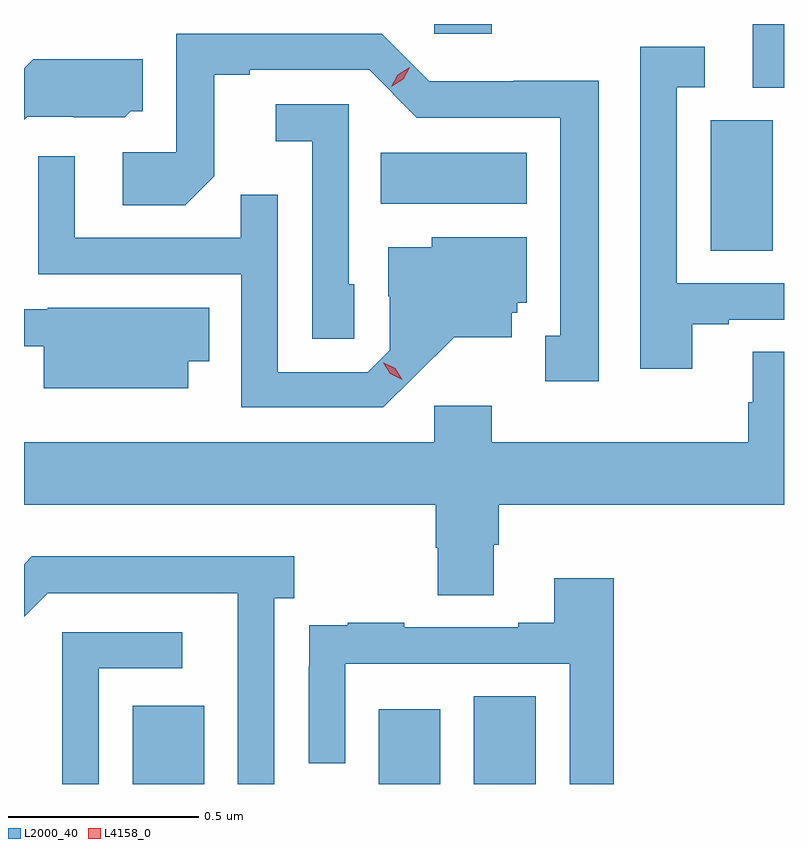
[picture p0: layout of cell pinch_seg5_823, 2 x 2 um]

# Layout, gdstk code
import gdstk
lib = gdstk.Library(unit=1e-6, precision=1e-09)
def R(c, l, rs):  # rectangles x0, y0, x1, y1
    for r in rs: c.add(gdstk.rectangle(r[:2], r[2:], *l))
def P(c, l, *ps):  # polygons
    for p in ps: c.add(gdstk.Polygon(p, *l))
L2000_40 = (2000, 40)
L4158_0 = (4158, 0)

pinch_seg5_823 = lib.new_cell('pinch_seg5_823')
R(pinch_seg5_823, L2000_40, [(804.491,897.317,804.679,897.523), (805.139,897.317,805.3,897.514), (805.388,897.317,805.552,897.548), (806.012,898.72,806.176,899.064), (805.144,898.844,805.528,898.978), (806.123,899.149,806.205,899.317), (805.284,899.291,805.436,899.317)])
P(pinch_seg5_823, L2000_40, [(805.717,899.168),(805.494,899.168),(805.494,899.166),(805.272,899.166),(805.146,899.292),(804.606,899.292),(804.606,898.98),(804.465,898.98),(804.465,898.84),(804.629,898.84),(804.705,898.916),(804.705,899.184),(804.799,899.184),(804.799,899.196),(805.113,899.196),(805.239,899.07),(805.616,899.07),(805.616,898.497),(805.577,898.497),(805.577,898.377),(805.717,898.377)],
  [(805.963,898.527),(806.059,898.527),(806.059,898.539),(806.205,898.539),(806.205,898.635),(805.923,898.635),(805.923,899.151),(805.996,899.151),(805.996,899.257),(805.827,899.257),(805.827,898.41),(805.963,898.41)],
  [(804.213,899.073),(804.336,899.073),(804.336,899.072),(804.47,899.072),(804.486,899.088),(804.517,899.088),(804.517,899.224),(804.229,899.224),(804.205,899.2),(804.205,899.065)],
  [(805.074,898.632),(805.059,898.632),(805.059,899.106),(804.867,899.106),(804.867,899.009),(804.963,899.009),(804.963,898.489),(805.074,898.489)],
  [(805.234,898.391),(805.337,898.493),(805.489,898.493),(805.489,898.557),(805.503,898.557),(805.503,898.584),(805.528,898.584),(805.528,898.756),(805.278,898.756),(805.278,898.729),(805.163,898.729),(805.163,898.6),(805.167,898.6),(805.167,898.458),(805.11,898.401),(804.873,898.401),(804.873,898.868),(804.775,898.868),(804.775,898.755),(804.339,898.755),(804.339,898.969),(804.243,898.969),(804.243,898.659),(804.777,898.659),(804.777,898.308),(805.15,898.308)],
  [(804.637,898.43),(804.692,898.43),(804.692,898.57),(804.268,898.57),(804.268,898.566),(804.205,898.566),(804.205,898.469),(804.257,898.469),(804.257,898.358),(804.637,898.358)],
  [(805.441,897.946),(805.454,897.946),(805.454,898.052),(806.205,898.052),(806.205,898.454),(806.123,898.454),(806.123,898.322),(806.111,898.322),(806.111,898.216),(805.436,898.216),(805.436,898.312),(805.284,898.312),(805.284,898.216),(804.205,898.216),(804.205,898.052),(805.289,898.052),(805.289,897.939),(805.294,897.939),(805.294,897.814),(805.441,897.814)],
  [(804.864,897.806),(804.916,897.806),(804.916,897.916),(804.226,897.916),(804.205,897.895),(804.205,897.757),(804.267,897.819),(804.767,897.819),(804.767,897.619),(804.768,897.619),(804.768,897.317),(804.864,897.317)],
  [(805.757,897.859),(805.601,897.859),(805.601,897.742),(805.505,897.742),(805.505,897.729),(805.205,897.729),(805.205,897.742),(805.057,897.742),(805.057,897.735),(804.955,897.735),(804.955,897.626),(804.954,897.626),(804.954,897.372),(805.05,897.372),(805.05,897.633),(805.641,897.633),(805.641,897.317),(805.757,897.317)],
  [(804.402,897.621),(804.622,897.621),(804.622,897.717),(804.306,897.717),(804.306,897.317),(804.402,897.317)])
P(pinch_seg5_823, L4158_0, [(805.171,899.152),(805.171,899.152),(805.188,899.184),(805.22,899.203),(805.22,899.203),(805.22,899.203),(805.203,899.171),(805.171,899.152)],
  [(805.2,898.381),(805.169,898.396),(805.151,898.426),(805.151,898.426),(805.152,898.426),(805.182,898.411),(805.2,898.381),(805.2,898.381)])

lib.write_gds('pinch_seg5_823.gds')
